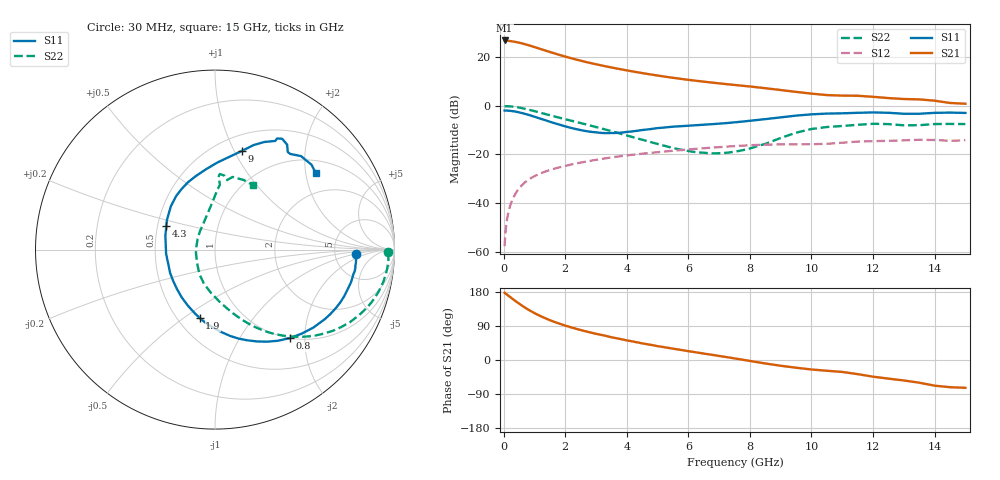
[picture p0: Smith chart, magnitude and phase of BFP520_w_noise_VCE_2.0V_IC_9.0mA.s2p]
! Infineon Technologies  Discrete & RF Semiconductors
! BFP520
! VCE =  2.0 V,  IC =  9.0 mA
! Common Emitter S-Parameters:  Oct 2015
# GHz  S  MA  R  50
!  f  S11  S21  S12  S22
! GHz  MAG  ANG  MAG  ANG  MAG  ANG  MAG  ANG
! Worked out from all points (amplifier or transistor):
!   109 points, 30 MHz to 15 GHz, reference 50 ohm
!   highest |S21| = 26.7 dB at 30 MHz (marker M1)
!   |S21| within 3 dB of that: start of sweep to 1.074 GHz
!   unconditionally stable (mu >= 1): 3.574 GHz to end of sweep
!   at 450 MHz: K = 0.22, MSG = 30.4 dB, |S12| = -34.8 dB
!   at 4 GHz: K = 1.05, MAG = 16.1 dB, |S12| = -20.5 dB
!   at 15 GHz: K = 1.31, MAG = 4.2 dB, |S12| = -14.3 dB
!   lowest NFmin = 1.47 dB at 900 MHz
!   S11 on the Smith chart (normalised r, x): 30 MHz: 8.26, -1.14; 800 MHz: 1.00, -1.69; 1.9 GHz: 0.64, -0.58; 4.3 GHz: 0.56, +0.16; 9 GHz: 0.66, +1.08; 15 GHz: 1.35, +2.28
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0.03  0.7877 -1.9  21.65 177.4  0.0013 77.9  0.963 -0.9
0.05  0.7884 -3.1  21.43 175.7  0.0021 80.6  0.9655 -1.7
0.11  0.7888 -7.4  21.29 172.5  0.0047 82.9  0.9673 -4.5
0.25  0.7717 -16.6  20.88 163.6  0.0104 80.7  0.9553 -10.7
0.45  0.7358 -29.3  19.79 151.6  0.0181 75.4  0.9185 -18.9
0.6  0.6994 -38.4  18.81 143.2  0.0234 71.8  0.881 -24.6
0.8  0.6455 -49.8  17.32 132.9  0.0299 67.2  0.8247 -31.6
1  0.5895 -60.5  15.86 123.8  0.0355 63.5  0.7666 -37.6
1.3  0.5116 -75.4  13.79 112.0  0.043 59.0  0.6833 -45.4
1.6  0.4436 -89.4  12.01 101.9  0.0496 55.4  0.6079 -51.9
1.9  0.3902 -102.6  10.54 93.5  0.0557 52.5  0.5441 -57.5
2.2  0.3463 -116.1  9.326 85.9  0.0617 49.9  0.4874 -62.5
2.6  0.3049 -134.2  8.031 77.0  0.0693 46.8  0.4207 -68.7
3.5  0.2734 -175.3  6.036 60.0  0.0861 39.4  0.2979 -84.1
4.3  0.3011 154.3  4.872 47.2  0.0995 32.7  0.2153 -102.3
5.1  0.3482 133.7  4.036 35.3  0.1117 26.3  0.1566 -124.2
6  0.3857 118.8  3.368 23.3  0.1256 19.3  0.1166 -151.0
7.6  0.4582 94.3  2.607 2.9  0.1482 5.4  0.1157 144.8
9  0.5714 74.6  2.079 -15.2  0.1594 -8.1  0.2159 99.6
10.5  0.6834 62.1  1.638 -28.4  0.1639 -16.7  0.3622 85.7
13  0.6784 53.3  1.36 -54.0  0.193 -37.0  0.3927 80.0
15  0.7046 37.2  1.089 -73.4  0.1935 -52.9  0.4164 59.3
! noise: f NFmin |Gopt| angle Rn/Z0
0.45  1.49  0.33  1  0.29
0.9  1.47  0.29  6  0.31
1.9  1.67  0.27  15  0.26
2.4  1.67  0.23  26  0.27
3.5  1.61  0.21  49  0.26
